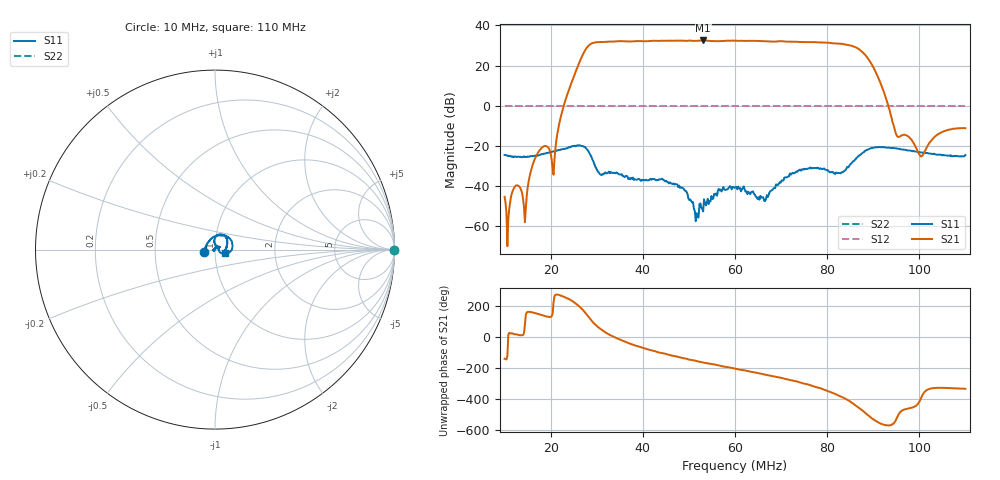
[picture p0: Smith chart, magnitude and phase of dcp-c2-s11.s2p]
! Anritsu VNA Master:  Model: MS2034B/10/19/501
! SN:  1337062
! /bd0/ovro-jan-2016/dcp-c2-s11.s2p
! Existing Calibration Information:
! TYPE:  Current Settings,  Active Cal Settings
! TIME:  01/10/2016 05:57:14 PM,  01/10/2016 03:13:30 PM
! INTERNAL TEMP:  44.0 C,  45.8 C
! # POINTS:  500,  500
! START FREQ:  10.000 MHz,  10.000 MHz
! STOP FREQ:  110.000 MHz,  110.000 MHz
! SOURCE POWER:  Low,  Low
! IFBW:  100 Hz,  100 Hz
! AVG FACTOR:  3 ,  3
! REF PLANE 1:  2.2245 m,  2.2245 m
! REF PLANE 2:  0 mm,  0 mm
! CAL TYPE:  1P2P S11,S21,  1P2P S11,S21
! CAL METHOD:  SOLT,  SOLT
! CAL LINE TYPE:  Coax,  Coax
! DUT PORT 1:  K-Conn(M),  K-Conn(M)
! DUT PORT 2:  N-Conn(M),  N-Conn(M)
! CAL STATUS:  OK: Accuracy High,  --
# GHZ S DB R 50.0
! FREQ.GHZ  S11DB  S11A  S21DB  S21A  S12DB  S12A  S22DB  S22A
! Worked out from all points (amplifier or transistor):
!   500 points, 10 MHz to 110 MHz, reference 50 ohm
!   highest |S21| = 32.5 dB at 53.09 MHz (marker M1)
!   |S21| within 3 dB of that: 28.06 MHz to 85.77 MHz (57.72 MHz wide, 101 % of centre)
!   unconditionally stable (mu >= 1): nowhere
!   at 26.63 MHz: K = 7.89, MSG = 11.9 dB, |S12| = 0.0 dB
!   at 60.1 MHz: K = 20.77, MSG = 16.2 dB, |S12| = 0.0 dB
!   at 110 MHz: K = 0.10, MSG = -5.6 dB, |S12| = 0.0 dB
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0.01  -24.42 -167.0  -45.26 -139.5  0.00 0.0  0.00 0.0
0.02362725  -21.10 61.4  5.86 -112.5  0.00 0.0  0.00 0.0
0.02683367  -20.02 13.3  24.87 179.0  0.00 0.0  0.00 0.0
0.02803607  -22.03 -14.5  29.49 136.0  0.00 0.0  0.00 0.0
0.02883768  -25.39 -26.7  30.96 106.0  0.00 0.0  0.00 0.0
0.02963928  -30.00 -28.2  31.55 80.5  0.00 0.0  0.00 0.0
0.03164329  -33.57 15.3  31.81 34.7  0.00 0.0  0.00 0.0
0.03384769  -33.44 23.8  32.02 -0.6  0.00 0.0  0.00 0.0
0.03845691  -36.69 46.2  32.16 -55.1  0.00 0.0  0.00 0.0
0.04346693  -36.57 71.1  32.29 -98.7  0.00 0.0  0.00 0.0
0.04827655  -40.57 71.5  32.43 -132.9  0.00 0.0  0.00 0.0
0.05308617  -52.54 -176.9  32.53 -164.4  0.00 0.0  0.00 0.0
0.0601002  -40.64 -153.0  32.37 157.0  0.00 0.0  0.00 0.0
0.06991984  -38.21 59.3  32.15 98.8  0.00 0.0  0.00 0.0
0.07673347  -31.00 26.9  31.66 46.6  0.00 0.0  0.00 0.0
0.07993988  -32.05 33.1  31.42 14.8  0.00 0.0  0.00 0.0
0.08214429  -33.35 52.3  31.03 -10.7  0.00 0.0  0.00 0.0
0.0857515  -27.42 96.8  29.55 -70.1  0.00 0.0  0.00 0.0
0.08855711  -22.04 82.3  24.53 -134.3  0.00 0.0  0.00 0.0
0.09056112  -20.62 65.2  16.72 -178.8  0.00 0.0  0.00 0.0
0.09336673  -20.76 46.6  -0.81 152.5  0.00 0.0  0.00 0.0
0.11  -24.48 -18.0  -11.13 27.7  0.00 0.0  0.00 0.0
